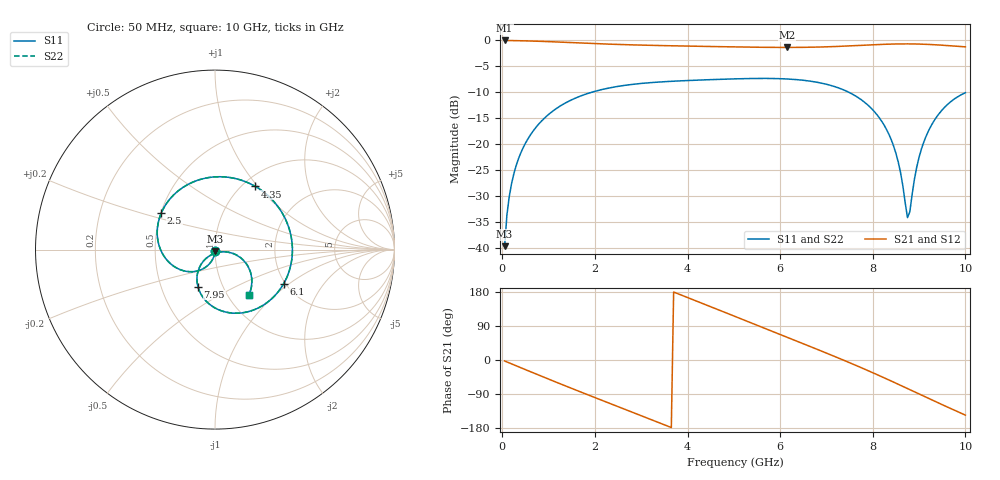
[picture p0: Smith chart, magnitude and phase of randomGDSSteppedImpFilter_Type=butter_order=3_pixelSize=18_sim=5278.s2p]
! freq	dB(S11)	phase(S11)	dB(S12)	phase(S12)
!  dB(S21)	phase(S21)	dB(S22)	phase(S22)
!S-par simulation data
#  GHz  S  DB  R 50
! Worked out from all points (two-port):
!   200 points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, 50 MHz to 10 GHz, reference 50 ohm
!   highest |S21| = 0.00 dB at 50 MHz (marker M1); lowest = -1.3 dB at 6.15 GHz (marker M2)
!   |S21| within 3 dB of the highest: start of sweep to end of sweep
!   lowest |S11| = -39.6 dB at 50 MHz (marker M3), VSWR 1.02, Z = 49.9 - j1.05 ohm
!   |S11| at or under -10 dB: start of sweep to 1.916 GHz; 7.491 GHz to end of sweep
!   |S22| runs from -39.6 to -7.3 dB; largest |S21 - S12| = 0
!   S11 on the Smith chart (normalised r, x): 50 MHz: 1.00, -0.02; 2.5 GHz: 0.50, +0.23; 4.35 GHz: 1.14, +0.97; 6.1 GHz: 1.96, -0.91; 7.95 GHz: 0.76, -0.33; 10 GHz: 1.25, -0.70
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0.05  -39.56 -92.3  -0.00 -2.6  -0.00 -2.6  -39.56 -92.3
0.1  -33.54 -95.0  -0.01 -5.1  -0.01 -5.1  -33.54 -95.0
0.2  -27.53 -100.3  -0.02 -10.2  -0.02 -10.2  -27.54 -100.3
0.5  -19.76 -116.0  -0.08 -25.4  -0.08 -25.4  -19.76 -116.0
1.15  -13.20 -148.5  -0.28 -57.9  -0.28 -57.9  -13.20 -148.5
1.75  -10.49 -178.0  -0.51 -87.2  -0.51 -87.2  -10.49 -178.0
2.5  -8.83 146.0  -0.77 -123.1  -0.77 -123.1  -8.83 145.9
3.4  -7.99 103.1  -0.98 -166.2  -0.98 -166.2  -7.99 103.0
4.35  -7.58 57.4  -1.14 147.9  -1.14 147.9  -7.58 57.4
5.05  -7.38 23.7  -1.25 113.8  -1.25 113.8  -7.38 23.7
5.55  -7.30 -0.2  -1.31 89.4  -1.31 89.4  -7.30 -0.2
6.1  -7.39 -26.3  -1.34 62.5  -1.34 62.5  -7.39 -26.3
6.15  -7.41 -28.7  -1.34 60.0  -1.34 60.0  -7.41 -28.6
6.7  -7.89 -54.8  -1.30 33.1  -1.30 33.1  -7.89 -54.7
7.35  -9.43 -85.9  -1.11 0.5  -1.11 0.5  -9.43 -85.9
7.95  -12.89 -114.8  -0.85 -30.9  -0.85 -30.9  -12.89 -114.8
8.35  -18.08 -132.0  -0.71 -52.8  -0.71 -52.8  -18.09 -132.1
8.55  -23.37 -135.2  -0.67 -64.0  -0.67 -64.0  -23.39 -135.4
8.75  -34.06 -84.7  -0.66 -75.3  -0.66 -75.3  -34.32 -84.9
9  -22.45 -11.3  -0.70 -89.6  -0.70 -89.6  -22.46 -10.7
9.2  -17.45 -15.7  -0.76 -101.0  -0.76 -101.0  -17.45 -15.2
10  -10.05 -53.3  -1.23 -145.5  -1.23 -145.5  -10.04 -52.9
